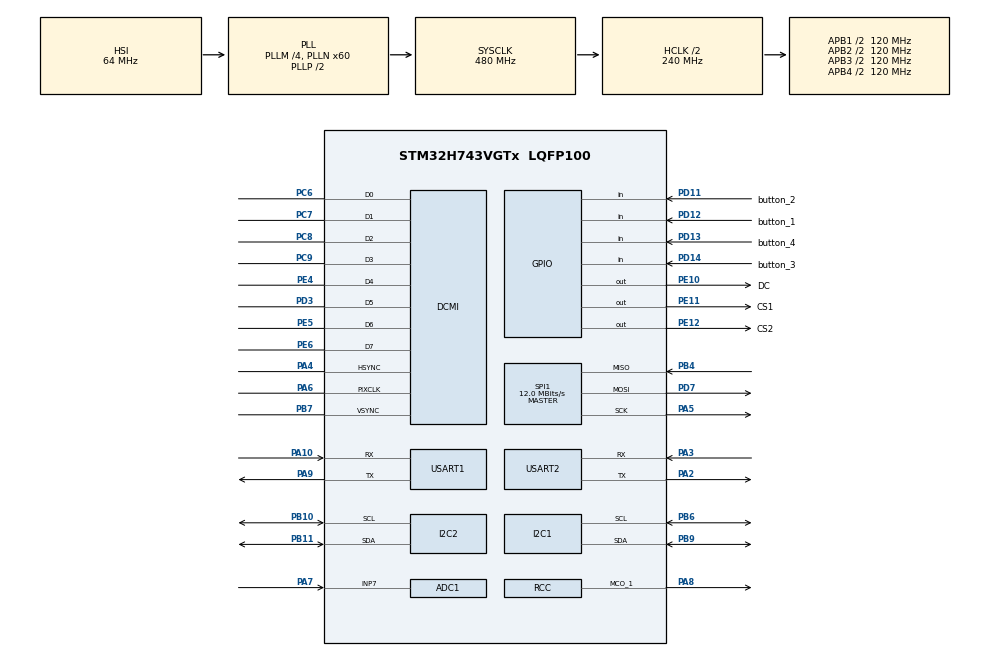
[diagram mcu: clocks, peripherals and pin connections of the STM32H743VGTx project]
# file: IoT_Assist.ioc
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ADC1.Channel-3\#ChannelRegularConversion=ADC_CHANNEL_7
ADC1.NbrOfConversionFlag=1
ADC1.OffsetNumber-3\#ChannelRegularConversion=ADC_OFFSET_NONE
ADC1.OffsetSignedSaturation-3\#ChannelRegularConversion=DISABLE
ADC1.Rank-3\#ChannelRegularConversion=1
ADC1.SamplingTime-3\#ChannelRegularConversion=ADC_SAMPLETIME_1CYCLE_5
ADC1.master=1
CORTEX_M7.default_mode_Activation=1
DCMI.JPEGMode=DCMI_JPEG_DISABLE
Dma.DCMI.0.Direction=DMA_PERIPH_TO_MEMORY
Dma.DCMI.0.EventEnable=DISABLE
Dma.DCMI.0.FIFOMode=DMA_FIFOMODE_DISABLE
Dma.DCMI.0.Instance=DMA1_Stream1
Dma.DCMI.0.MemDataAlignment=DMA_MDATAALIGN_WORD
Dma.DCMI.0.MemInc=DMA_MINC_ENABLE
Dma.DCMI.0.Mode=DMA_NORMAL
Dma.DCMI.0.PeriphDataAlignment=DMA_PDATAALIGN_WORD
Dma.DCMI.0.PeriphInc=DMA_PINC_DISABLE
Dma.DCMI.0.Polarity=HAL_DMAMUX_REQ_GEN_RISING
Dma.DCMI.0.Priority=DMA_PRIORITY_LOW
Dma.DCMI.0.RequestNumber=1
Dma.DCMI.0.SignalID=NONE
Dma.DCMI.0.SyncEnable=DISABLE
Dma.DCMI.0.SyncPolarity=HAL_DMAMUX_SYNC_NO_EVENT
Dma.DCMI.0.SyncRequestNumber=1
Dma.DCMI.0.SyncSignalID=NONE
Dma.Request0=DCMI
FREERTOS.Tasks01=defaultTask,24,128,StartDefaultTask,Default,NULL,Dynamic,NULL,NULL
I2C1.Timing=0x307075B1
I2C2.Timing=0x307075B1
Mcu.Family=STM32H7
Mcu.Name=STM32H743VGTx
Mcu.Package=LQFP100
NVIC.DMA1_Stream1_IRQn=true\:5\:0\:false\:false\:true\:true\:false\:true\:true
NVIC.PriorityGroup=NVIC_PRIORITYGROUP_4
NVIC.TIM6_DAC_IRQn=true\:15\:0\:false\:false\:true\:false\:false\:true\:true
NVIC.TimeBase=TIM6_DAC_IRQn
NVIC.TimeBaseIP=TIM6
PA10.Mode=Asynchronous
PA10.Signal=USART1_RX
PA2.Mode=Asynchronous
PA2.Signal=USART2_TX
PA3.Mode=Asynchronous
PA3.Signal=USART2_RX
PA4.Mode=Slave_8_bits_External_Synchro
PA4.Signal=DCMI_HSYNC
PA5.Mode=Full_Duplex_Master
PA5.Signal=SPI1_SCK
PA6.Mode=Slave_8_bits_External_Synchro
PA6.Signal=DCMI_PIXCLK
PA7.Signal=ADCx_INP7
PA8.Mode=Clock-out-1
PA8.Signal=RCC_MCO_1
PA9.Mode=Asynchronous
PA9.Signal=USART1_TX
PB10.Mode=I2C
PB10.Signal=I2C2_SCL
PB11.Mode=I2C
PB11.Signal=I2C2_SDA
PB4\ (NJTRST).Mode=Full_Duplex_Master
PB4\ (NJTRST).Signal=SPI1_MISO
PB6.GPIO_Pu=GPIO_PULLUP
PB6.Mode=I2C
PB6.Signal=I2C1_SCL
PB7.Mode=Slave_8_bits_External_Synchro
PB7.Signal=DCMI_VSYNC
PB9.GPIO_Pu=GPIO_PULLUP
PB9.Mode=I2C
PB9.Signal=I2C1_SDA
PC6.Mode=Slave_8_bits_External_Synchro
PC6.Signal=DCMI_D0
PC7.Mode=Slave_8_bits_External_Synchro
PC7.Signal=DCMI_D1
PC8.Mode=Slave_8_bits_External_Synchro
PC8.Signal=DCMI_D2
PC9.Mode=Slave_8_bits_External_Synchro
PC9.Signal=DCMI_D3
PD11.GPIO_Label=button_2
PD11.GPIO_PuPd=GPIO_PULLUP
PD11.Signal=GPIO_Input
PD12.GPIO_Label=button_1
PD12.GPIO_PuPd=GPIO_PULLUP
PD12.Signal=GPIO_Input
PD13.GPIO_Label=button_4
PD13.GPIO_PuPd=GPIO_PULLUP
PD13.Signal=GPIO_Input
PD14.GPIO_Label=button_3
PD14.GPIO_PuPd=GPIO_PULLUP
PD14.Signal=GPIO_Input
PD3.Mode=Slave_8_bits_External_Synchro
PD3.Signal=DCMI_D5
PD7.Mode=Full_Duplex_Master
PD7.Signal=SPI1_MOSI
PE10.GPIO_Label=DC
PE10.GPIO_Speed=GPIO_SPEED_FREQ_VERY_HIGH
PE10.PinState=GPIO_PIN_SET
PE10.Signal=GPIO_Output
PE11.GPIO_Label=CS1
PE11.GPIO_Speed=GPIO_SPEED_FREQ_VERY_HIGH
PE11.PinState=GPIO_PIN_SET
PE11.Signal=GPIO_Output
PE12.GPIO_Label=CS2
PE12.GPIO_Speed=GPIO_SPEED_FREQ_VERY_HIGH
PE12.PinState=GPIO_PIN_SET
PE12.Signal=GPIO_Output
PE4.Mode=Slave_8_bits_External_Synchro
PE4.Signal=DCMI_D4
PE5.Mode=Slave_8_bits_External_Synchro
PE5.Signal=DCMI_D6
PE6.Mode=Slave_8_bits_External_Synchro
PE6.Signal=DCMI_D7
PH0-OSC_IN\ (PH0).Mode=HSE-External-Clock-Source
PH0-OSC_IN\ (PH0).Signal=RCC_OSC_IN
ProjectManager.HeapSize=0x800
ProjectManager.StackSize=0x800
ProjectManager.TargetToolchain=Makefile
RCC.ADCFreq_Value=80000000
RCC.APB1Freq_Value=120000000
RCC.APB2Freq_Value=120000000
RCC.APB3Freq_Value=120000000
RCC.APB4Freq_Value=120000000
RCC.CortexFreq_Value=480000000
RCC.D1PPRE=RCC_APB3_DIV2
RCC.D2PPRE1=RCC_APB1_DIV2
RCC.D2PPRE2=RCC_APB2_DIV2
RCC.D3PPRE=RCC_APB4_DIV2
RCC.DIVM1=4
RCC.DIVM2=4
RCC.DIVN1=60
RCC.DIVN2=10
RCC.DIVQ1=5
RCC.HCLKFreq_Value=240000000
RCC.HPRE=RCC_HCLK_DIV2
RCC.HSE_VALUE=8000000
RCC.PLL2FRACN=0
RCC.PLL3FRACN=0
RCC.PLLFRACN=0
RCC.RCC_MCO1Source=RCC_MCO1SOURCE_PLL1QCLK
RCC.RCC_MCODiv1=RCC_MCODIV_8
RCC.SYSCLKFreq_VALUE=480000000
RCC.SYSCLKSource=RCC_SYSCLKSOURCE_PLLCLK
RCC.USBFreq_Value=192000000
SH.ADCx_INP7.0=ADC1_INP7,IN7-Single-Ended
SPI1.BaudRatePrescaler=SPI_BAUDRATEPRESCALER_16
SPI1.CalculateBaudRate=12.0 MBits/s
SPI1.DataSize=SPI_DATASIZE_8BIT
SPI1.Direction=SPI_DIRECTION_2LINES
SPI1.Mode=SPI_MODE_MASTER
SPI1.VirtualType=VM_MASTER
STMicroelectronics.X-CUBE-AI.10.2.0.HeapSize=0x800
STMicroelectronics.X-CUBE-AI.10.2.0.ReadyForCodeGeneration=false
STMicroelectronics.X-CUBE-AI.10.2.0.StackSize=0x800
STMicroelectronics.X-CUBE-AI.10.2.0.XAaCUBEAaAICcArtificialOoIntelligenceJjCore=true
USART1.VirtualMode-Asynchronous=VM_ASYNC
USART2.VirtualMode-Asynchronous=VM_ASYNC
VP_FREERTOS_VS_CMSIS_V2.Mode=CMSIS_V2
VP_MEMORYMAP_VS_MEMORYMAP.Mode=CurAppReg
VP_STMicroelectronics.X-CUBE-AI_VS_ArtificialOoIntelligenceJjXAaCUBEAaAI_10.2.0.Mode=ArtificialOoIntelligenceJjXAaCUBEAaAI
VP_SYS_VS_tim6.Mode=TIM6
board=custom

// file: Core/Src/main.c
/* USER CODE BEGIN Header */
/* USER CODE END Header */
#include "main.h"

#include <string.h>

#include "FreeRTOS.h"
#include "cmsis_os2.h"

ADC_HandleTypeDef hadc1;

DCMI_HandleTypeDef hdcmi;
DMA_HandleTypeDef hdma_dcmi;

I2C_HandleTypeDef hi2c1;
I2C_HandleTypeDef hi2c2;

SPI_HandleTypeDef hspi1;

UART_HandleTypeDef huart1;
UART_HandleTypeDef huart2;

/* Definitions for defaultTask */
osThreadId_t defaultTaskHandle;
const osThreadAttr_t defaultTask_attributes = {
  .name = "defaultTask",
  .stack_size = 128 * 4,
  .priority = (osPriority_t) osPriorityNormal,
};

void SystemClock_Config(void);
static void MPU_Config(void);
static void MX_GPIO_Init(void);
static void MX_DMA_Init(void);
static void MX_ADC1_Init(void);
static void MX_DCMI_Init(void);
static void MX_I2C1_Init(void);
static void MX_I2C2_Init(void);
static void MX_SPI1_Init(void);
static void MX_USART1_UART_Init(void);
static void MX_USART2_UART_Init(void);
void StartDefaultTask(void *argument);

/* USER CODE BEGIN PFP */
// 定义引脚操作，方便阅读 (请根据你的 CubeMX Label 调整)
#define OLED_DC_CMD    HAL_GPIO_WritePin(GPIOE, GPIO_PIN_10, GPIO_PIN_RESET)
#define OLED_DC_DATA   HAL_GPIO_WritePin(GPIOE, GPIO_PIN_10, GPIO_PIN_SET)
#define OLED_CS_SELECT   HAL_GPIO_WritePin(GPIOE, GPIO_PIN_11, GPIO_PIN_RESET)
#define OLED_CS_DESELECT HAL_GPIO_WritePin(GPIOE, GPIO_PIN_11, GPIO_PIN_SET)

// 发送一个字节的命令
void OLED_WriteCmd(uint8_t cmd) {
  OLED_DC_CMD;
  OLED_CS_SELECT;
  HAL_SPI_Transmit(&hspi1, &cmd, 1, 10);
  OLED_CS_DESELECT;
}

// 发送一个字节的数据
void OLED_WriteData(uint8_t data) {
  OLED_DC_DATA;
  OLED_CS_SELECT;
  HAL_SPI_Transmit(&hspi1, &data, 1, 10);
  OLED_CS_DESELECT;
}
/* USER CODE END PFP */

/* USER CODE BEGIN 0 */
void OLED_Init(void) {
  HAL_Delay(100); // 等待屏幕上电稳定

  OLED_WriteCmd(0xAE); // 关闭显示
  OLED_WriteCmd(0xD5); // 设置时钟分频
  OLED_WriteCmd(0x80);
  OLED_WriteCmd(0xA8); // 设置多路复用率
  OLED_WriteCmd(0x3F);
  OLED_WriteCmd(0xD3); // 设置显示偏移
  OLED_WriteCmd(0x00);
  OLED_WriteCmd(0x40); // 设置起始行
  OLED_WriteCmd(0x8D); // 电荷泵设置
  OLED_WriteCmd(0x14); // 开启电荷泵
  OLED_WriteCmd(0x20); // 设置内存地址模式
  OLED_WriteCmd(0x02); // 页地址模式 (Page Addressing Mode)
  OLED_WriteCmd(0xA1); // 段重映射 (左右反转可改这里)
  OLED_WriteCmd(0xC8); // 扫描方向 (上下反转可改这里)
  OLED_WriteCmd(0xDA); // COM引脚配置
  OLED_WriteCmd(0x12);
  OLED_WriteCmd(0x81); // 对比度设置
  OLED_WriteCmd(0xCF);
  OLED_WriteCmd(0xD9); // 预充电周期
  OLED_WriteCmd(0xF1);
  OLED_WriteCmd(0xDB); // VCOMH电平
  OLED_WriteCmd(0x40);
  OLED_WriteCmd(0xA4); // 全屏显示开启 (A4正常, A5全亮)
  OLED_WriteCmd(0xA6); // 正常显示 (A7反色)
  OLED_WriteCmd(0xAF); // 开启显示

  // 清屏代码（可选，防止上电花屏）
  for(int i=0; i<8; i++) {
    OLED_WriteCmd(0xB0 + i); // 设置页地址 (0-7)
    OLED_WriteCmd(0x00);      // 设置列低地址
    OLED_WriteCmd(0x10);      // 设置列高地址
    for(int j=0; j<128; j++) OLED_WriteData(0x00);
  }
}
/* USER CODE END 0 */

int main(void)
{

  /* MPU Configuration--------------------------------------------------------*/
  MPU_Config();

  /* MCU Configuration--------------------------------------------------------*/

  /* Reset of all peripherals, Initializes the Flash interface and the Systick. */
  HAL_Init();

  /* Configure the system clock */
  SystemClock_Config();

  /* Initialize all configured peripherals */
  MX_GPIO_Init();
  MX_DMA_Init();
  MX_ADC1_Init();
  MX_DCMI_Init();
  MX_I2C1_Init();
  MX_I2C2_Init();
  MX_SPI1_Init();
  MX_USART1_UART_Init();
  MX_USART2_UART_Init();
  /* USER CODE BEGIN 2 */
  /* USER CODE BEGIN 2 */
  /* 在 USER CODE BEGIN 2 里这样写 */

  // 1. 锁死字库芯片
  HAL_GPIO_WritePin(GPIOE, GPIO_PIN_12, GPIO_PIN_SET);

  // 2. 初始化 OLED
  OLED_Init();

  // 3. 终极测试：发送全屏点亮命令 0xA5 (无论显存里是什么，全部亮起)
  OLED_WriteCmd(0xA5);

  /* USER CODE END 2 */

  /* Init scheduler */
  osKernelInitialize();

  /* Create the thread(s) */
  /* creation of defaultTask */
  defaultTaskHandle = osThreadNew(StartDefaultTask, NULL, &defaultTask_attributes);

  /* Start scheduler */
  osKernelStart();

  /* We should never get here as control is now taken by the scheduler */

  /* Infinite loop */

}

void SystemClock_Config(void)
{
  RCC_OscInitTypeDef RCC_OscInitStruct = {0};
  RCC_ClkInitTypeDef RCC_ClkInitStruct = {0};

  /** Supply configuration update enable
  */
  HAL_PWREx_ConfigSupply(PWR_LDO_SUPPLY);

  /** Configure the main internal regulator output voltage
  */
  __HAL_PWR_VOLTAGESCALING_CONFIG(PWR_REGULATOR_VOLTAGE_SCALE0);

  while(!__HAL_PWR_GET_FLAG(PWR_FLAG_VOSRDY)) {}

  /** Initializes the RCC Oscillators according to the specified parameters
  * in the RCC_OscInitTypeDef structure.
  */
  RCC_OscInitStruct.OscillatorType = RCC_OSCILLATORTYPE_HSI;
  RCC_OscInitStruct.HSIState = RCC_HSI_DIV1;
  RCC_OscInitStruct.HSICalibrationValue = RCC_HSICALIBRATION_DEFAULT;
  RCC_OscInitStruct.PLL.PLLState = RCC_PLL_ON;
  RCC_OscInitStruct.PLL.PLLSource = RCC_PLLSOURCE_HSI;
  RCC_OscInitStruct.PLL.PLLM = 4;
  RCC_OscInitStruct.PLL.PLLN = 60;
  RCC_OscInitStruct.PLL.PLLP = 2;
  RCC_OscInitStruct.PLL.PLLQ = 5;
  RCC_OscInitStruct.PLL.PLLR = 2;
  RCC_OscInitStruct.PLL.PLLRGE = RCC_PLL1VCIRANGE_3;
  RCC_OscInitStruct.PLL.PLLVCOSEL = RCC_PLL1VCOWIDE;
  RCC_OscInitStruct.PLL.PLLFRACN = 0;
  if (HAL_RCC_OscConfig(&RCC_OscInitStruct) != HAL_OK)
  {
    Error_Handler();
  }

  /** Initializes the CPU, AHB and APB buses clocks
  */
  RCC_ClkInitStruct.ClockType = RCC_CLOCKTYPE_HCLK|RCC_CLOCKTYPE_SYSCLK
                              |RCC_CLOCKTYPE_PCLK1|RCC_CLOCKTYPE_PCLK2
                              |RCC_CLOCKTYPE_D3PCLK1|RCC_CLOCKTYPE_D1PCLK1;
  RCC_ClkInitStruct.SYSCLKSource = RCC_SYSCLKSOURCE_PLLCLK;
  RCC_ClkInitStruct.SYSCLKDivider = RCC_SYSCLK_DIV1;
  RCC_ClkInitStruct.AHBCLKDivider = RCC_HCLK_DIV2;
  RCC_ClkInitStruct.APB3CLKDivider = RCC_APB3_DIV2;
  RCC_ClkInitStruct.APB1CLKDivider = RCC_APB1_DIV2;
  RCC_ClkInitStruct.APB2CLKDivider = RCC_APB2_DIV2;
  RCC_ClkInitStruct.APB4CLKDivider = RCC_APB4_DIV2;

  if (HAL_RCC_ClockConfig(&RCC_ClkInitStruct, FLASH_LATENCY_4) != HAL_OK)
  {
    Error_Handler();
  }
  __HAL_RCC_PLLCLKOUT_ENABLE(RCC_PLL1_DIVQ);
  HAL_RCC_MCOConfig(RCC_MCO1, RCC_MCO1SOURCE_PLL1QCLK, RCC_MCODIV_8);
}

static void MX_ADC1_Init(void)
{

  ADC_MultiModeTypeDef multimode = {0};
  ADC_ChannelConfTypeDef sConfig = {0};

  /** Common config
  */
  hadc1.Instance = ADC1;
  hadc1.Init.ClockPrescaler = ADC_CLOCK_ASYNC_DIV1;
  hadc1.Init.Resolution = ADC_RESOLUTION_16B;
  hadc1.Init.ScanConvMode = ADC_SCAN_DISABLE;
  hadc1.Init.EOCSelection = ADC_EOC_SINGLE_CONV;
  hadc1.Init.LowPowerAutoWait = DISABLE;
  hadc1.Init.ContinuousConvMode = DISABLE;
  hadc1.Init.NbrOfConversion = 1;
  hadc1.Init.DiscontinuousConvMode = DISABLE;
  hadc1.Init.ExternalTrigConv = ADC_SOFTWARE_START;
  hadc1.Init.ExternalTrigConvEdge = ADC_EXTERNALTRIGCONVEDGE_NONE;
  hadc1.Init.ConversionDataManagement = ADC_CONVERSIONDATA_DR;
  hadc1.Init.Overrun = ADC_OVR_DATA_PRESERVED;
  hadc1.Init.LeftBitShift = ADC_LEFTBITSHIFT_NONE;
  hadc1.Init.OversamplingMode = DISABLE;
  hadc1.Init.Oversampling.Ratio = 1;
  if (HAL_ADC_Init(&hadc1) != HAL_OK)
  {
    Error_Handler();
  }

  /** Configure the ADC multi-mode
  */
  multimode.Mode = ADC_MODE_INDEPENDENT;
  if (HAL_ADCEx_MultiModeConfigChannel(&hadc1, &multimode) != HAL_OK)
  {
    Error_Handler();
  }

  /** Configure Regular Channel
  */
  sConfig.Channel = ADC_CHANNEL_7;
  sConfig.Rank = ADC_REGULAR_RANK_1;
  sConfig.SamplingTime = ADC_SAMPLETIME_1CYCLE_5;
  sConfig.SingleDiff = ADC_SINGLE_ENDED;
  sConfig.OffsetNumber = ADC_OFFSET_NONE;
  sConfig.Offset = 0;
  sConfig.OffsetSignedSaturation = DISABLE;
  if (HAL_ADC_ConfigChannel(&hadc1, &sConfig) != HAL_OK)
  {
    Error_Handler();
  }

}

static void MX_DCMI_Init(void)
{

  hdcmi.Instance = DCMI;
  hdcmi.Init.SynchroMode = DCMI_SYNCHRO_HARDWARE;
  hdcmi.Init.PCKPolarity = DCMI_PCKPOLARITY_FALLING;
  hdcmi.Init.VSPolarity = DCMI_VSPOLARITY_LOW;
  hdcmi.Init.HSPolarity = DCMI_HSPOLARITY_LOW;
  hdcmi.Init.CaptureRate = DCMI_CR_ALL_FRAME;
  hdcmi.Init.ExtendedDataMode = DCMI_EXTEND_DATA_8B;
  hdcmi.Init.JPEGMode = DCMI_JPEG_DISABLE;
  hdcmi.Init.ByteSelectMode = DCMI_BSM_ALL;
  hdcmi.Init.ByteSelectStart = DCMI_OEBS_ODD;
  hdcmi.Init.LineSelectMode = DCMI_LSM_ALL;
  hdcmi.Init.LineSelectStart = DCMI_OELS_ODD;
  if (HAL_DCMI_Init(&hdcmi) != HAL_OK)
  {
    Error_Handler();
  }

}

static void MX_I2C1_Init(void)
{

  hi2c1.Instance = I2C1;
  hi2c1.Init.Timing = 0x307075B1;
  hi2c1.Init.OwnAddress1 = 0;
  hi2c1.Init.AddressingMode = I2C_ADDRESSINGMODE_7BIT;
  hi2c1.Init.DualAddressMode = I2C_DUALADDRESS_DISABLE;
  hi2c1.Init.OwnAddress2 = 0;
  hi2c1.Init.OwnAddress2Masks = I2C_OA2_NOMASK;
  hi2c1.Init.GeneralCallMode = I2C_GENERALCALL_DISABLE;
  hi2c1.Init.NoStretchMode = I2C_NOSTRETCH_DISABLE;
  if (HAL_I2C_Init(&hi2c1) != HAL_OK)
  {
    Error_Handler();
  }

  /** Configure Analogue filter
  */
  if (HAL_I2CEx_ConfigAnalogFilter(&hi2c1, I2C_ANALOGFILTER_ENABLE) != HAL_OK)
  {
    Error_Handler();
  }

  /** Configure Digital filter
  */
  if (HAL_I2CEx_ConfigDigitalFilter(&hi2c1, 0) != HAL_OK)
  {
    Error_Handler();
  }

}

static void MX_I2C2_Init(void)
{

  hi2c2.Instance = I2C2;
  hi2c2.Init.Timing = 0x307075B1;
  hi2c2.Init.OwnAddress1 = 0;
  hi2c2.Init.AddressingMode = I2C_ADDRESSINGMODE_7BIT;
  hi2c2.Init.DualAddressMode = I2C_DUALADDRESS_DISABLE;
  hi2c2.Init.OwnAddress2 = 0;
  hi2c2.Init.OwnAddress2Masks = I2C_OA2_NOMASK;
  hi2c2.Init.GeneralCallMode = I2C_GENERALCALL_DISABLE;
  hi2c2.Init.NoStretchMode = I2C_NOSTRETCH_DISABLE;
  if (HAL_I2C_Init(&hi2c2) != HAL_OK)
  {
    Error_Handler();
  }

  /** Configure Analogue filter
  */
  if (HAL_I2CEx_ConfigAnalogFilter(&hi2c2, I2C_ANALOGFILTER_ENABLE) != HAL_OK)
  {
    Error_Handler();
  }

  /** Configure Digital filter
  */
  if (HAL_I2CEx_ConfigDigitalFilter(&hi2c2, 0) != HAL_OK)
  {
    Error_Handler();
  }

}

static void MX_SPI1_Init(void)
{

  /* SPI1 parameter configuration*/
  hspi1.Instance = SPI1;
  hspi1.Init.Mode = SPI_MODE_MASTER;
  hspi1.Init.Direction = SPI_DIRECTION_2LINES;
  hspi1.Init.DataSize = SPI_DATASIZE_8BIT;
  hspi1.Init.CLKPolarity = SPI_POLARITY_LOW;
  hspi1.Init.CLKPhase = SPI_PHASE_1EDGE;
  hspi1.Init.NSS = SPI_NSS_SOFT;
  hspi1.Init.BaudRatePrescaler = SPI_BAUDRATEPRESCALER_16;
  hspi1.Init.FirstBit = SPI_FIRSTBIT_MSB;
  hspi1.Init.TIMode = SPI_TIMODE_DISABLE;
  hspi1.Init.CRCCalculation = SPI_CRCCALCULATION_DISABLE;
  hspi1.Init.CRCPolynomial = 0x0;
  hspi1.Init.NSSPMode = SPI_NSS_PULSE_ENABLE;
  hspi1.Init.NSSPolarity = SPI_NSS_POLARITY_LOW;
  hspi1.Init.FifoThreshold = SPI_FIFO_THRESHOLD_01DATA;
  hspi1.Init.TxCRCInitializationPattern = SPI_CRC_INITIALIZATION_ALL_ZERO_PATTERN;
  hspi1.Init.RxCRCInitializationPattern = SPI_CRC_INITIALIZATION_ALL_ZERO_PATTERN;
  hspi1.Init.MasterSSIdleness = SPI_MASTER_SS_IDLENESS_00CYCLE;
  hspi1.Init.MasterInterDataIdleness = SPI_MASTER_INTERDATA_IDLENESS_00CYCLE;
  hspi1.Init.MasterReceiverAutoSusp = SPI_MASTER_RX_AUTOSUSP_DISABLE;
  hspi1.Init.MasterKeepIOState = SPI_MASTER_KEEP_IO_STATE_DISABLE;
  hspi1.Init.IOSwap = SPI_IO_SWAP_DISABLE;
  if (HAL_SPI_Init(&hspi1) != HAL_OK)
  {
    Error_Handler();
  }

}

static void MX_USART1_UART_Init(void)
{

  huart1.Instance = USART1;
  huart1.Init.BaudRate = 115200;
  huart1.Init.WordLength = UART_WORDLENGTH_8B;
  huart1.Init.StopBits = UART_STOPBITS_1;
  huart1.Init.Parity = UART_PARITY_NONE;
  huart1.Init.Mode = UART_MODE_TX_RX;
  huart1.Init.HwFlowCtl = UART_HWCONTROL_NONE;
  huart1.Init.OverSampling = UART_OVERSAMPLING_16;
  huart1.Init.OneBitSampling = UART_ONE_BIT_SAMPLE_DISABLE;
  huart1.Init.ClockPrescaler = UART_PRESCALER_DIV1;
  huart1.AdvancedInit.AdvFeatureInit = UART_ADVFEATURE_NO_INIT;
  if (HAL_UART_Init(&huart1) != HAL_OK)
  {
    Error_Handler();
  }
  if (HAL_UARTEx_SetTxFifoThreshold(&huart1, UART_TXFIFO_THRESHOLD_1_8) != HAL_OK)
  {
    Error_Handler();
  }
  if (HAL_UARTEx_SetRxFifoThreshold(&huart1, UART_RXFIFO_THRESHOLD_1_8) != HAL_OK)
  {
    Error_Handler();
  }
  if (HAL_UARTEx_DisableFifoMode(&huart1) != HAL_OK)
  {
    Error_Handler();
  }

}

static void MX_USART2_UART_Init(void)
{

  huart2.Instance = USART2;
  huart2.Init.BaudRate = 115200;
  huart2.Init.WordLength = UART_WORDLENGTH_8B;
  huart2.Init.StopBits = UART_STOPBITS_1;
  huart2.Init.Parity = UART_PARITY_NONE;
  huart2.Init.Mode = UART_MODE_TX_RX;
  huart2.Init.HwFlowCtl = UART_HWCONTROL_NONE;
  huart2.Init.OverSampling = UART_OVERSAMPLING_16;
  huart2.Init.OneBitSampling = UART_ONE_BIT_SAMPLE_DISABLE;
  huart2.Init.ClockPrescaler = UART_PRESCALER_DIV1;
  huart2.AdvancedInit.AdvFeatureInit = UART_ADVFEATURE_NO_INIT;
  if (HAL_UART_Init(&huart2) != HAL_OK)
  {
    Error_Handler();
  }
  if (HAL_UARTEx_SetTxFifoThreshold(&huart2, UART_TXFIFO_THRESHOLD_1_8) != HAL_OK)
  {
    Error_Handler();
  }
  if (HAL_UARTEx_SetRxFifoThreshold(&huart2, UART_RXFIFO_THRESHOLD_1_8) != HAL_OK)
  {
    Error_Handler();
  }
  if (HAL_UARTEx_DisableFifoMode(&huart2) != HAL_OK)
  {
    Error_Handler();
  }

}

static void MX_DMA_Init(void)
{

  /* DMA controller clock enable */
  __HAL_RCC_DMA1_CLK_ENABLE();

  /* DMA interrupt init */
  /* DMA1_Stream1_IRQn interrupt configuration */
  HAL_NVIC_SetPriority(DMA1_Stream1_IRQn, 5, 0);
  HAL_NVIC_EnableIRQ(DMA1_Stream1_IRQn);

}

static void MX_GPIO_Init(void)
{
  GPIO_InitTypeDef GPIO_InitStruct = {0};

  /* GPIO Ports Clock Enable */
  __HAL_RCC_GPIOE_CLK_ENABLE();
  __HAL_RCC_GPIOH_CLK_ENABLE();
  __HAL_RCC_GPIOA_CLK_ENABLE();
  __HAL_RCC_GPIOB_CLK_ENABLE();
  __HAL_RCC_GPIOD_CLK_ENABLE();
  __HAL_RCC_GPIOC_CLK_ENABLE();

  /*Configure GPIO pin Output Level */
  HAL_GPIO_WritePin(GPIOE, DC_Pin|CS1_Pin|CS2_Pin, GPIO_PIN_SET);

  /*Configure GPIO pins : DC_Pin CS1_Pin CS2_Pin */
  GPIO_InitStruct.Pin = DC_Pin|CS1_Pin|CS2_Pin;
  GPIO_InitStruct.Mode = GPIO_MODE_OUTPUT_PP;
  GPIO_InitStruct.Pull = GPIO_NOPULL;
  GPIO_InitStruct.Speed = GPIO_SPEED_FREQ_VERY_HIGH;
  HAL_GPIO_Init(GPIOE, &GPIO_InitStruct);

  /*Configure GPIO pins : button_2_Pin button_1_Pin button_4_Pin button_3_Pin */
  GPIO_InitStruct.Pin = button_2_Pin|button_1_Pin|button_4_Pin|button_3_Pin;
  GPIO_InitStruct.Mode = GPIO_MODE_INPUT;
  GPIO_InitStruct.Pull = GPIO_PULLUP;
  HAL_GPIO_Init(GPIOD, &GPIO_InitStruct);

  /*Configure GPIO pin : PA8 */
  GPIO_InitStruct.Pin = GPIO_PIN_8;
  GPIO_InitStruct.Mode = GPIO_MODE_AF_PP;
  GPIO_InitStruct.Pull = GPIO_NOPULL;
  GPIO_InitStruct.Speed = GPIO_SPEED_FREQ_LOW;
  GPIO_InitStruct.Alternate = GPIO_AF0_MCO;
  HAL_GPIO_Init(GPIOA, &GPIO_InitStruct);

}

void StartDefaultTask(void *argument)
{
  /* USER CODE BEGIN 5 */
  /* Infinite loop */
    for(;;) {
      const char ch[] = "HELLO\r\n";
      HAL_UART_Transmit(&huart1, (uint8_t*)ch, strlen(ch), 100);
      osDelay(1000); // 每一秒发一次
    }
  /* USER CODE END 5 */
}

 /* MPU Configuration */

void MPU_Config(void)
{
  MPU_Region_InitTypeDef MPU_InitStruct = {0};

  /* Disables the MPU */
  HAL_MPU_Disable();

  /** Initializes and configures the Region and the memory to be protected
  */
  MPU_InitStruct.Enable = MPU_REGION_ENABLE;
  MPU_InitStruct.Number = MPU_REGION_NUMBER0;
  MPU_InitStruct.BaseAddress = 0x0;
  MPU_InitStruct.Size = MPU_REGION_SIZE_4GB;
  MPU_InitStruct.SubRegionDisable = 0x87;
  MPU_InitStruct.TypeExtField = MPU_TEX_LEVEL0;
  MPU_InitStruct.AccessPermission = MPU_REGION_NO_ACCESS;
  MPU_InitStruct.DisableExec = MPU_INSTRUCTION_ACCESS_DISABLE;
  MPU_InitStruct.IsShareable = MPU_ACCESS_SHAREABLE;
  MPU_InitStruct.IsCacheable = MPU_ACCESS_NOT_CACHEABLE;
  MPU_InitStruct.IsBufferable = MPU_ACCESS_NOT_BUFFERABLE;

  HAL_MPU_ConfigRegion(&MPU_InitStruct);
  /* Enables the MPU */
  HAL_MPU_Enable(MPU_PRIVILEGED_DEFAULT);

}

void HAL_TIM_PeriodElapsedCallback(TIM_HandleTypeDef *htim)
{
  if (htim->Instance == TIM6)
  {
    HAL_IncTick();
  }
}

void Error_Handler(void)
{
}
